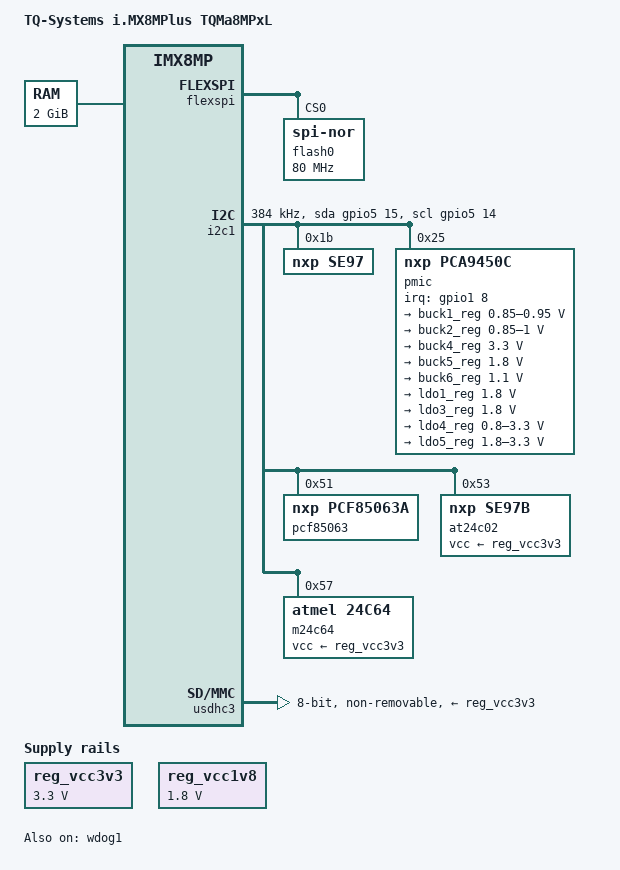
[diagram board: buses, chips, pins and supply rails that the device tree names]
// SPDX-License-Identifier: GPL-2.0-or-later OR MIT
/*
 * Copyright 2021-2022 TQ-Systems GmbH
 * Author: Alexander Stein <alexander.stein@tq-group.com>
 */

#include "imx8mp.dtsi"

/ {
	model = "TQ-Systems i.MX8MPlus TQMa8MPxL";
	compatible = "tq,imx8mp-tqma8mpql", "fsl,imx8mp";

	memory@40000000 {
		device_type = "memory";
		reg = <0x0 0x40000000 0 0x80000000>;
	};

	/* identical to buck4_reg, but should never change */
	reg_vcc3v3: regulator-vcc3v3 {
		compatible = "regulator-fixed";
		regulator-name = "VCC3V3";
		regulator-min-microvolt = <3300000>;
		regulator-max-microvolt = <3300000>;
		regulator-always-on;
	};

	/* e-MMC IO, needed for HS modes */
	reg_vcc1v8: regulator-vcc1v8 {
		compatible = "regulator-fixed";
		regulator-name = "VCC1V8";
		regulator-min-microvolt = <1800000>;
		regulator-max-microvolt = <1800000>;
		regulator-always-on;
	};
};

&A53_0 {
	cpu-supply = <&buck2_reg>;
};

&flexspi {
	pinctrl-names = "default";
	pinctrl-0 = <&pinctrl_flexspi0>;
	status = "okay";

	flash0: flash@0 {
		reg = <0>;
		#address-cells = <1>;
		#size-cells = <1>;
		compatible = "jedec,spi-nor";
		spi-max-frequency = <80000000>;
		spi-tx-bus-width = <1>;
		spi-rx-bus-width = <4>;
	};
};

&i2c1 {
	clock-frequency = <384000>;
	pinctrl-names = "default", "gpio";
	pinctrl-0 = <&pinctrl_i2c1>;
	pinctrl-1 = <&pinctrl_i2c1_gpio>;
	scl-gpios = <&gpio5 14 (GPIO_ACTIVE_HIGH | GPIO_OPEN_DRAIN)>;
	sda-gpios = <&gpio5 15 (GPIO_ACTIVE_HIGH | GPIO_OPEN_DRAIN)>;
	status = "okay";

	/* NXP SE97BTP with temperature sensor + eeprom */
	se97: temperature-sensor-eeprom@1b {
		compatible = "nxp,se97", "jedec,jc-42.4-temp";
		reg = <0x1b>;
	};

	pmic: pmic@25 {
		reg = <0x25>;
		compatible = "nxp,pca9450c";

		/* PMIC PCA9450 PMIC_nINT GPIO1_IO08 */
		pinctrl-0 = <&pinctrl_pmic>;
		pinctrl-names = "default";
		interrupt-parent = <&gpio1>;
		interrupts = <8 IRQ_TYPE_LEVEL_LOW>;

		regulators {
			/* V_0V85_SOC: 0.85 .. 0.95 */
			buck1_reg: BUCK1 {
				regulator-name = "BUCK1";
				regulator-min-microvolt = <850000>;
				regulator-max-microvolt = <950000>;
				regulator-boot-on;
				regulator-always-on;
				regulator-ramp-delay = <3125>;
			};

			/* VDD_ARM */
			buck2_reg: BUCK2 {
				regulator-name = "BUCK2";
				regulator-min-microvolt = <850000>;
				regulator-max-microvolt = <1000000>;
				regulator-boot-on;
				regulator-always-on;
				nxp,dvs-run-voltage = <950000>;
				nxp,dvs-standby-voltage = <850000>;
				regulator-ramp-delay = <3125>;
			};

			/* VCC3V3 -> VMMC, ... must not be changed */
			buck4_reg: BUCK4 {
				regulator-name = "BUCK4";
				regulator-min-microvolt = <3300000>;
				regulator-max-microvolt = <3300000>;
				regulator-boot-on;
				regulator-always-on;
			};

			/* V_1V8 -> VQMMC, SPI-NOR, ... must not be changed */
			buck5_reg: BUCK5 {
				regulator-name = "BUCK5";
				regulator-min-microvolt = <1800000>;
				regulator-max-microvolt = <1800000>;
				regulator-boot-on;
				regulator-always-on;
			};

			/* V_1V1 -> RAM, ... must not be changed */
			buck6_reg: BUCK6 {
				regulator-name = "BUCK6";
				regulator-min-microvolt = <1100000>;
				regulator-max-microvolt = <1100000>;
				regulator-boot-on;
				regulator-always-on;
			};

			/* V_1V8_SNVS */
			ldo1_reg: LDO1 {
				regulator-name = "LDO1";
				regulator-min-microvolt = <1800000>;
				regulator-max-microvolt = <1800000>;
				regulator-boot-on;
				regulator-always-on;
			};

			/* V_1V8_ANA */
			ldo3_reg: LDO3 {
				regulator-name = "LDO3";
				regulator-min-microvolt = <1800000>;
				regulator-max-microvolt = <1800000>;
				regulator-boot-on;
				regulator-always-on;
			};

			/* unused */
			ldo4_reg: LDO4 {
				regulator-name = "LDO4";
				regulator-min-microvolt = <800000>;
				regulator-max-microvolt = <3300000>;
			};

			/* VCC SD IO - switched using SD2 VSELECT */
			ldo5_reg: LDO5 {
				regulator-name = "LDO5";
				regulator-min-microvolt = <1800000>;
				regulator-max-microvolt = <3300000>;
			};
		};
	};

	pcf85063: rtc@51 {
		compatible = "nxp,pcf85063a";
		reg = <0x51>;
	};

	at24c02: eeprom@53 {
		compatible = "nxp,se97b", "atmel,24c02";
		read-only;
		reg = <0x53>;
		pagesize = <16>;
		vcc-supply = <&reg_vcc3v3>;
	};

	m24c64: eeprom@57 {
		compatible = "atmel,24c64";
		reg = <0x57>;
		pagesize = <32>;
		vcc-supply = <&reg_vcc3v3>;
	};
};

&usdhc3 {
	pinctrl-names = "default", "state_100mhz", "state_200mhz";
	pinctrl-0 = <&pinctrl_usdhc3>;
	pinctrl-1 = <&pinctrl_usdhc3_100mhz>;
	pinctrl-2 = <&pinctrl_usdhc3_200mhz>;
	bus-width = <8>;
	non-removable;
	no-sd;
	no-sdio;
	vmmc-supply = <&reg_vcc3v3>;
	vqmmc-supply = <&reg_vcc1v8>;
	status = "okay";
};

&wdog1 {
	pinctrl-names = "default";
	pinctrl-0 = <&pinctrl_wdog>;
	fsl,ext-reset-output;
	status = "okay";
};

&iomuxc {
	pinctrl_flexspi0: flexspi0grp {
		fsl,pins = <MX8MP_IOMUXC_NAND_ALE__FLEXSPI_A_SCLK	0x142>,
			   <MX8MP_IOMUXC_NAND_CE0_B__FLEXSPI_A_SS0_B	0x82>,
			   <MX8MP_IOMUXC_NAND_DATA00__FLEXSPI_A_DATA00	0x82>,
			   <MX8MP_IOMUXC_NAND_DATA01__FLEXSPI_A_DATA01	0x82>,
			   <MX8MP_IOMUXC_NAND_DATA02__FLEXSPI_A_DATA02	0x82>,
			   <MX8MP_IOMUXC_NAND_DATA03__FLEXSPI_A_DATA03	0x82>;
	};

	pinctrl_i2c1: i2c1grp {
		fsl,pins = <MX8MP_IOMUXC_I2C1_SCL__I2C1_SCL		0x400001e2>,
			   <MX8MP_IOMUXC_I2C1_SDA__I2C1_SDA		0x400001e2>;
	};

	pinctrl_i2c1_gpio: i2c1-gpiogrp {
		fsl,pins = <MX8MP_IOMUXC_I2C1_SCL__GPIO5_IO14		0x400001e2>,
			   <MX8MP_IOMUXC_I2C1_SDA__GPIO5_IO15		0x400001e2>;
	};

	pinctrl_pmic: pmicirqgrp {
		fsl,pins = <MX8MP_IOMUXC_GPIO1_IO08__GPIO1_IO08		0x1c0>;
	};

	pinctrl_reg_usdhc2_vmmc: regusdhc2vmmcgrp {
		fsl,pins = <MX8MP_IOMUXC_SD2_RESET_B__GPIO2_IO19	0x10>;
	};

	pinctrl_usdhc3: usdhc3grp {
		fsl,pins = <MX8MP_IOMUXC_NAND_WE_B__USDHC3_CLK		0x194>,
			   <MX8MP_IOMUXC_NAND_WP_B__USDHC3_CMD		0x1d4>,
			   <MX8MP_IOMUXC_NAND_DATA04__USDHC3_DATA0	0x1d4>,
			   <MX8MP_IOMUXC_NAND_DATA05__USDHC3_DATA1	0x1d4>,
			   <MX8MP_IOMUXC_NAND_DATA06__USDHC3_DATA2	0x1d4>,
			   <MX8MP_IOMUXC_NAND_DATA07__USDHC3_DATA3	0x1d4>,
			   <MX8MP_IOMUXC_NAND_RE_B__USDHC3_DATA4	0x1d4>,
			   <MX8MP_IOMUXC_NAND_CE2_B__USDHC3_DATA5	0x1d4>,
			   <MX8MP_IOMUXC_NAND_CE3_B__USDHC3_DATA6	0x1d4>,
			   <MX8MP_IOMUXC_NAND_CLE__USDHC3_DATA7		0x1d4>,
			   <MX8MP_IOMUXC_NAND_CE1_B__USDHC3_STROBE	0x84>,
			   <MX8MP_IOMUXC_NAND_READY_B__USDHC3_RESET_B	0x84>;
	};

	pinctrl_usdhc3_100mhz: usdhc3-100mhzgrp {
		fsl,pins = <MX8MP_IOMUXC_NAND_WE_B__USDHC3_CLK		0x194>,
			   <MX8MP_IOMUXC_NAND_WP_B__USDHC3_CMD		0x1d4>,
			   <MX8MP_IOMUXC_NAND_DATA04__USDHC3_DATA0	0x1d4>,
			   <MX8MP_IOMUXC_NAND_DATA05__USDHC3_DATA1	0x1d4>,
			   <MX8MP_IOMUXC_NAND_DATA06__USDHC3_DATA2	0x1d4>,
			   <MX8MP_IOMUXC_NAND_DATA07__USDHC3_DATA3	0x1d4>,
			   <MX8MP_IOMUXC_NAND_RE_B__USDHC3_DATA4	0x1d4>,
			   <MX8MP_IOMUXC_NAND_CE2_B__USDHC3_DATA5	0x1d4>,
			   <MX8MP_IOMUXC_NAND_CE3_B__USDHC3_DATA6	0x1d4>,
			   <MX8MP_IOMUXC_NAND_CLE__USDHC3_DATA7		0x1d4>,
			   <MX8MP_IOMUXC_NAND_CE1_B__USDHC3_STROBE	0x84>,
			   <MX8MP_IOMUXC_NAND_READY_B__USDHC3_RESET_B	0x84>;
	};

	pinctrl_usdhc3_200mhz: usdhc3-200mhzgrp {
		fsl,pins = <MX8MP_IOMUXC_NAND_WE_B__USDHC3_CLK		0x194>,
			   <MX8MP_IOMUXC_NAND_WP_B__USDHC3_CMD		0x1d4>,
			   <MX8MP_IOMUXC_NAND_DATA04__USDHC3_DATA0	0x1d4>,
			   <MX8MP_IOMUXC_NAND_DATA05__USDHC3_DATA1	0x1d4>,
			   <MX8MP_IOMUXC_NAND_DATA06__USDHC3_DATA2	0x1d4>,
			   <MX8MP_IOMUXC_NAND_DATA07__USDHC3_DATA3	0x1d4>,
			   <MX8MP_IOMUXC_NAND_RE_B__USDHC3_DATA4	0x1d4>,
			   <MX8MP_IOMUXC_NAND_CE2_B__USDHC3_DATA5	0x1d4>,
			   <MX8MP_IOMUXC_NAND_CE3_B__USDHC3_DATA6	0x1d4>,
			   <MX8MP_IOMUXC_NAND_CLE__USDHC3_DATA7		0x1d4>,
			   <MX8MP_IOMUXC_NAND_CE1_B__USDHC3_STROBE	0x84>,
			   <MX8MP_IOMUXC_NAND_READY_B__USDHC3_RESET_B	0x84>;
	};

	pinctrl_wdog: wdoggrp {
		fsl,pins = <MX8MP_IOMUXC_GPIO1_IO02__WDOG1_WDOG_B	0x1c4>;
	};
};
